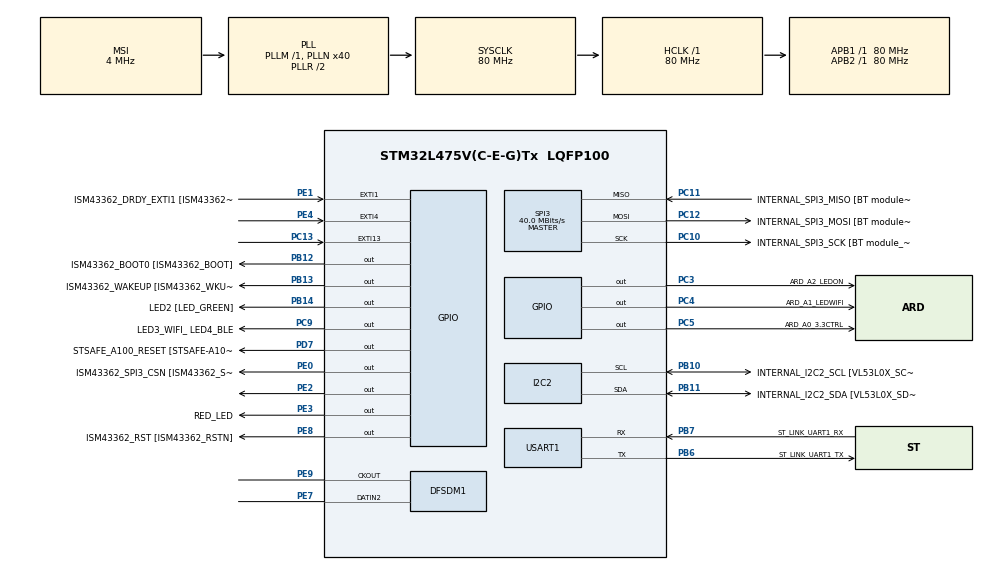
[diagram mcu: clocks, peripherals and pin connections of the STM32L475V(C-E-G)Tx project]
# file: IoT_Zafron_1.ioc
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DFSDM1.Divider=4
DFSDM1.DmaMode_reg_FIL0=ENABLE
DFSDM1.FastMode_reg_FIL0=ENABLE
DFSDM1.Filter_injChannel2_FIL0=DFSDM_CHANNEL_2
DFSDM1.Filter_regChannel_FIL0=DFSDM_CHANNEL_2
DFSDM1.Fosr_FIL0=64
DFSDM1.Oversampling_CH2=10
DFSDM1.RightBitShift_CH2=0x02
DFSDM1.ScanMode_inj_FIL0=ENABLE
DFSDM1.Selection=DFSDM_CHANNEL_OUTPUT_CLOCK_AUDIO
DFSDM1.SincOrder_FIL0=DFSDM_FILTER_SINC3_ORDER
Dma.DFSDM1_FLT0.0.Direction=DMA_PERIPH_TO_MEMORY
Dma.DFSDM1_FLT0.0.Instance=DMA1_Channel4
Dma.DFSDM1_FLT0.0.MemDataAlignment=DMA_MDATAALIGN_WORD
Dma.DFSDM1_FLT0.0.MemInc=DMA_MINC_ENABLE
Dma.DFSDM1_FLT0.0.Mode=DMA_CIRCULAR
Dma.DFSDM1_FLT0.0.PeriphDataAlignment=DMA_PDATAALIGN_WORD
Dma.DFSDM1_FLT0.0.PeriphInc=DMA_PINC_DISABLE
Dma.DFSDM1_FLT0.0.Priority=DMA_PRIORITY_LOW
Dma.Request0=DFSDM1_FLT0
FREERTOS.Tasks01=Cayenne,24,512,StartCayenne,Default,NULL,Dynamic,NULL,NULL;Representacion,24,512,StartRepresentacion,Default,NULL,Dynamic,NULL,NULL;Microfono,24,512,StartMicrofono,Default,NULL,Dynamic,NULL,NULL
FREERTOS.configMINIMAL_STACK_SIZE=512
FREERTOS.configTOTAL_HEAP_SIZE=8192
FREERTOS.configUSE_NEWLIB_REENTRANT=1
I2C2.Timing=0x10909CEC
Mcu.Family=STM32L4
Mcu.Name=STM32L475V(C-E-G)Tx
Mcu.Package=LQFP100
NVIC.DMA1_Channel4_IRQn=true\:5\:0\:false\:false\:true\:true\:false\:true\:true
NVIC.EXTI15_10_IRQn=true\:5\:0\:false\:false\:true\:true\:true\:true\:true
NVIC.EXTI1_IRQn=true\:5\:0\:false\:false\:true\:true\:true\:true\:true
NVIC.EXTI4_IRQn=true\:5\:0\:false\:false\:true\:true\:true\:true\:true
NVIC.PriorityGroup=NVIC_PRIORITYGROUP_4
NVIC.RTC_WKUP_IRQn=true\:5\:0\:true\:false\:true\:true\:true\:true\:true
NVIC.SPI3_IRQn=true\:5\:0\:true\:false\:true\:true\:true\:true\:true
PA13\ (JTMS-SWDIO).GPIO_Label=SYS_JTMS_SWDIO
PA13\ (JTMS-SWDIO).Mode=Serial_Wire
PA13\ (JTMS-SWDIO).Signal=SYS_JTMS-SWDIO
PA14\ (JTCK-SWCLK).GPIO_Label=SYS_JTCK_SWCLK
PA14\ (JTCK-SWCLK).Mode=Serial_Wire
PA14\ (JTCK-SWCLK).Signal=SYS_JTCK-SWCLK
PB10.GPIO_Label=INTERNAL_I2C2_SCL [VL53L0X_SCL]
PB10.GPIO_Pu=GPIO_PULLUP
PB10.Mode=I2C
PB10.Signal=I2C2_SCL
PB11.GPIO_Label=INTERNAL_I2C2_SDA [VL53L0X_SDA]
PB11.GPIO_Pu=GPIO_PULLUP
PB11.Mode=I2C
PB11.Signal=I2C2_SDA
PB12.GPIO_Label=ISM43362_BOOT0 [ISM43362_BOOT]
PB12.Signal=GPIO_Output
PB13.GPIO_Label=ISM43362_WAKEUP [ISM43362_WKUP]
PB13.Signal=GPIO_Output
PB14.GPIO_Label=LED2 [LED_GREEN]
PB14.Signal=GPIO_Output
PB3\ (JTDO-TRACESWO).GPIO_Label=SYS_JTD0_SWO
PB3\ (JTDO-TRACESWO).Signal=SYS_JTDO-SWO
PB6.GPIO_Label=ST_LINK_UART1_TX
PB6.Mode=Asynchronous
PB6.Signal=USART1_TX
PB7.GPIO_Label=ST_LINK_UART1_RX
PB7.Mode=Asynchronous
PB7.Signal=USART1_RX
PC10.GPIO_Label=INTERNAL_SPI3_SCK [BT module_SPI_SCLK] [ISM43362_SCK]
PC10.Mode=Full_Duplex_Master
PC10.Signal=SPI3_SCK
PC11.GPIO_Label=INTERNAL_SPI3_MISO [BT module_SPI_MISO] [ISM43362_MISO]
PC11.Mode=Full_Duplex_Master
PC11.Signal=SPI3_MISO
PC12.GPIO_Label=INTERNAL_SPI3_MOSI [BT module_SPI_MOSI] [ISM43362_MOSI]
PC12.Mode=Full_Duplex_Master
PC12.Signal=SPI3_MOSI
PC13.GPIO_PuPd=GPIO_PULLUP
PC13.Signal=GPXTI13
PC14-OSC32_IN\ (PC14).Mode=LSE-External-Oscillator
PC14-OSC32_IN\ (PC14).Signal=RCC_OSC32_IN
PC15-OSC32_OUT\ (PC15).Mode=LSE-External-Oscillator
PC15-OSC32_OUT\ (PC15).Signal=RCC_OSC32_OUT
PC3.GPIO_Label=ARD_A2_LEDON
PC3.GPIO_PuPd=GPIO_NOPULL
PC3.Signal=GPIO_Output
PC4.GPIO_Label=ARD_A1_LEDWIFI
PC4.GPIO_PuPd=GPIO_NOPULL
PC4.Signal=GPIO_Output
PC5.GPIO_Label=ARD_A0_3.3CTRL
PC5.GPIO_ModeDefaultOutputPP=GPIO_MODE_OUTPUT_PP
PC5.GPIO_PuPd=GPIO_PULLUP
PC5.PinState=GPIO_PIN_SET
PC5.Signal=GPIO_Output
PC9.GPIO_Label=LED3_WIFI_ LED4_BLE
PC9.Signal=GPIO_Output
PD7.GPIO_Label=STSAFE_A100_RESET [STSAFE-A100_RESET]
PD7.Signal=GPIO_Output
PE0.GPIO_Label=ISM43362_SPI3_CSN [ISM43362_SSN]
PE0.PinState=GPIO_PIN_SET
PE0.Signal=GPIO_Output
PE1.GPIO_Label=ISM43362_DRDY_EXTI1 [ISM43362_DATARDY]
PE1.Signal=GPXTI1
PE2.Signal=GPIO_Output
PE3.GPIO_Label=RED_LED
PE3.Signal=GPIO_Output
PE4.Signal=GPXTI4
PE7.Signal=S_DATAIN2DFSDM1
PE8.GPIO_Label=ISM43362_RST [ISM43362_RSTN]
PE8.Signal=GPIO_Output
PE9.Signal=S_CKOUTDFSDM1
ProjectManager.HeapSize=0x200
ProjectManager.StackSize=0x400
ProjectManager.TargetToolchain=STM32CubeIDE
RCC.ADCFreq_Value=48000000
RCC.AHBFreq_Value=80000000
RCC.APB1Freq_Value=80000000
RCC.APB1TimFreq_Value=80000000
RCC.APB2Freq_Value=80000000
RCC.APB2TimFreq_Value=80000000
RCC.CortexFreq_Value=80000000
RCC.HCLKFreq_Value=80000000
RCC.HSE_VALUE=8000000
RCC.HSI_VALUE=16000000
RCC.LPTIM1CLockSelection=RCC_LPTIM1CLKSOURCE_LSE
RCC.LPTIM2CLockSelection=RCC_LPTIM2CLKSOURCE_LSE
RCC.MSI_VALUE=4000000
RCC.PLLN=40
RCC.PLLSAI1N=24
RCC.RTCClockSelection=RCC_RTCCLKSOURCE_LSE
RCC.SYSCLKFreq_VALUE=80000000
RCC.SYSCLKSource=RCC_SYSCLKSOURCE_PLLCLK
RCC.USBFreq_Value=48000000
RCC.VCOOutputFreq_Value=160000000
RTC.Format=RTC_FORMAT_BIN
SH.S_CKOUTDFSDM1.0=DFSDM1_CKOUT,PDM_SPI_input_from_ch2_and_internal_clock
SH.S_CKOUTDFSDM1.1=DFSDM1_CKOUT,CKOUT
SH.S_DATAIN2DFSDM1.0=DFSDM1_DATIN2,PDM_SPI_input_from_ch2_and_internal_clock
SPI3.CalculateBaudRate=40.0 MBits/s
SPI3.Direction=SPI_DIRECTION_2LINES
SPI3.Mode=SPI_MODE_MASTER
SPI3.VirtualType=VM_MASTER
USART1.VirtualMode-Asynchronous=VM_ASYNC
VP_CRC_VS_CRC.Mode=CRC_Activate
VP_FREERTOS_VS_CMSIS_V2.Mode=CMSIS_V2
VP_RNG_VS_RNG.Mode=RNG_Activate
VP_RTC_VS_RTC_Activate.Mode=RTC_Enabled
VP_RTC_VS_RTC_Calendar.Mode=RTC_Calendar
VP_RTC_VS_RTC_WakeUp_intern.Mode=WakeUp
VREF+.Mode=InternalMode
VREF+.Signal=VREFBUF_OUT
board=B-L475E-IOT01A1

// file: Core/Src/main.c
/* USER CODE BEGIN Header */
/* USER CODE END Header */
#include "main.h"
#include "cmsis_os.h"

/* USER CODE BEGIN Includes */
#include "CayenneMQTTClient.h"
#include"GenericMQTT.h"

/* USER CODE END Includes */

/* USER CODE BEGIN PD */
#define SaturaLH(N, L, H) (((N)<(L))?(L):(((N)>(H))?(H):(N)))
#define M24SR_ADDR 0xAC // Dirección I2C del dispositivo M24SR
#define BUFFER_SIZE 10

#define SENIAL1 0x10
#define SENIAL2 0x20
/* USER CODE END PD */

CRC_HandleTypeDef hcrc;

DFSDM_Filter_HandleTypeDef hdfsdm1_filter0;
DFSDM_Channel_HandleTypeDef hdfsdm1_channel2;
DMA_HandleTypeDef hdma_dfsdm1_flt0;

I2C_HandleTypeDef hi2c2;

RNG_HandleTypeDef hrng;

RTC_HandleTypeDef hrtc;

SPI_HandleTypeDef hspi3;

UART_HandleTypeDef huart1;

/* Definitions for Zafron */
osThreadId_t ZafronHandle;
const osThreadAttr_t Zafron_attributes = {
  .name = "Zafron",
  .stack_size = 512 * 4,
  .priority = (osPriority_t) osPriorityNormal,
};
/* Definitions for Representacion */
osThreadId_t RepresentacionHandle;
const osThreadAttr_t Representacion_attributes = {
  .name = "Representacion",
  .stack_size = 512 * 4,
  .priority = (osPriority_t) osPriorityNormal,
};
/* Definitions for Microfono */
osThreadId_t MicrofonoHandle;
const osThreadAttr_t Microfono_attributes = {
  .name = "Microfono",
  .stack_size = 512 * 4,
  .priority = (osPriority_t) osPriorityNormal,
};
/* USER CODE BEGIN PV */
net_hnd_t hnet; /* Es inicializado porcloud_main(). */

net_sockhnd_t socket;
CayenneMQTTClient mqttClient;
Network network;
Timer timer;

char *username = "a8f3a0ec-6d65-4a45-bfb6-4ea3a2f5b438";
char *password = "00000000764D8D03";
char *clientID = "D61ED7EE";

bool FLAG1 = false;
bool encendido = true;
bool estadoLED = false;

AUDIO_DrvTypeDef *audio_drv;
int32_t RecBuff[2048];
int16_t PlayBuff[4096];
uint32_t DmaRecHalfBuffCplt = 0;
uint32_t DmaRecBuffCplt = 0;
uint32_t PlaybackStarted = 0;

uint16_t numeroDetecciones;
uint16_t numeroPulsaciones;
//uint16_t volumenMicro;

/* USER CODE END PV */

void SystemClock_Config(void);
void PeriphCommonClock_Config(void);
static void MX_GPIO_Init(void);
static void MX_DMA_Init(void);
static void MX_USART1_UART_Init(void);
static void MX_I2C2_Init(void);
static void MX_RNG_Init(void);
static void MX_RTC_Init(void);
static void MX_SPI3_Init(void);
static void MX_CRC_Init(void);
static void MX_DFSDM1_Init(void);
void StartZafron(void *argument);
void StartRepresentacion(void *argument);
void StartMicrofono(void *argument);

/* USER CODE BEGIN PFP */
void SPI_WIFI_ISR(void);
bool inicializa_ConexionIoT(void);
bool inicia_ClienteMQTT(void);

void messageArrived(CayenneMessageData *message);
void outputMessage(CayenneMessageData *message);
/* USER CODE END PFP */

int main(void)
{

	/* MCU Configuration--------------------------------------------------------*/

	/* Reset of all peripherals, Initializes the Flash interface and the Systick. */
	HAL_Init();

	/* Configure the system clock */
	SystemClock_Config();

	/* Configure the peripherals common clocks */
	PeriphCommonClock_Config();

	/* USER CODE BEGIN SysInit */
	BSP_LED_Init(LED_GREEN);	//Led de usuario en la placa
	BSP_PB_Init(BUTTON_USER, BUTTON_MODE_EXTI);	//PushButton de la placa
	/* USER CODE END SysInit */

	/* Initialize all configured peripherals */
	MX_GPIO_Init();
	MX_DMA_Init();
	MX_USART1_UART_Init();
	MX_I2C2_Init();
	MX_RNG_Init();
	MX_RTC_Init();
	MX_SPI3_Init();
	MX_CRC_Init();
	MX_DFSDM1_Init();

	/* USER CODE BEGIN 2 */
	numeroDetecciones = 0;
	numeroPulsaciones = 0;
	NFC_IO_Init(1);
	inicializarTemperatura();
	inicializarHumedad();
	inicializarBarometro();
	inicializarAcelerometro();
	inicializarGiro();
	inicializarMagneto();
	inicializarToF();
	//inicializarSensores();
	if (HAL_OK
			!= HAL_DFSDM_FilterRegularStart_DMA(&hdfsdm1_filter0, RecBuff,
					2048)) { //Inicializar micro
		Error_Handler();
	}

	inicializa_ConexionIoT();
	inicia_ClienteMQTT();

	printf("\x1b[2J" "\x1b[f"); //limpiar buffer y ventana de TeraTerm

	/* USER CODE END 2 */

	/* Init scheduler */
	osKernelInitialize();

	/* Create the thread(s) */
	/* creation of Zafron */
	ZafronHandle = osThreadNew(StartZafron, NULL, &Zafron_attributes);

	/* creation of Representacion */
	RepresentacionHandle = osThreadNew(StartRepresentacion, NULL,
			&Representacion_attributes);

	/* creation of Microfono */
	MicrofonoHandle = osThreadNew(StartMicrofono, NULL, &Microfono_attributes);

	/* USER CODE BEGIN RTOS_THREADS */
	//publicador = osThreadNew(publicaDatos, NULL, &defaultTask_attributes_1);
	/* add threads, ... */
	/* USER CODE END RTOS_THREADS */

	/* Start scheduler */
	osKernelStart();
	/* We should never get here as control is now taken by the scheduler */
	/* Infinite loop */
	while (1) {

	}
}

void SystemClock_Config(void)
{
  RCC_OscInitTypeDef RCC_OscInitStruct = {0};
  RCC_ClkInitTypeDef RCC_ClkInitStruct = {0};

  /** Configure the main internal regulator output voltage
  */
  if (HAL_PWREx_ControlVoltageScaling(PWR_REGULATOR_VOLTAGE_SCALE1) != HAL_OK)
  {
    Error_Handler();
  }

  /** Configure LSE Drive Capability
  */
  HAL_PWR_EnableBkUpAccess();
  __HAL_RCC_LSEDRIVE_CONFIG(RCC_LSEDRIVE_LOW);

  /** Initializes the RCC Oscillators according to the specified parameters
  * in the RCC_OscInitTypeDef structure.
  */
  RCC_OscInitStruct.OscillatorType = RCC_OSCILLATORTYPE_LSE|RCC_OSCILLATORTYPE_MSI;
  RCC_OscInitStruct.LSEState = RCC_LSE_ON;
  RCC_OscInitStruct.MSIState = RCC_MSI_ON;
  RCC_OscInitStruct.MSICalibrationValue = 0;
  RCC_OscInitStruct.MSIClockRange = RCC_MSIRANGE_6;
  RCC_OscInitStruct.PLL.PLLState = RCC_PLL_ON;
  RCC_OscInitStruct.PLL.PLLSource = RCC_PLLSOURCE_MSI;
  RCC_OscInitStruct.PLL.PLLM = 1;
  RCC_OscInitStruct.PLL.PLLN = 40;
  RCC_OscInitStruct.PLL.PLLP = RCC_PLLP_DIV7;
  RCC_OscInitStruct.PLL.PLLQ = RCC_PLLQ_DIV2;
  RCC_OscInitStruct.PLL.PLLR = RCC_PLLR_DIV2;
  if (HAL_RCC_OscConfig(&RCC_OscInitStruct) != HAL_OK)
  {
    Error_Handler();
  }

  /** Initializes the CPU, AHB and APB buses clocks
  */
  RCC_ClkInitStruct.ClockType = RCC_CLOCKTYPE_HCLK|RCC_CLOCKTYPE_SYSCLK
                              |RCC_CLOCKTYPE_PCLK1|RCC_CLOCKTYPE_PCLK2;
  RCC_ClkInitStruct.SYSCLKSource = RCC_SYSCLKSOURCE_PLLCLK;
  RCC_ClkInitStruct.AHBCLKDivider = RCC_SYSCLK_DIV1;
  RCC_ClkInitStruct.APB1CLKDivider = RCC_HCLK_DIV1;
  RCC_ClkInitStruct.APB2CLKDivider = RCC_HCLK_DIV1;

  if (HAL_RCC_ClockConfig(&RCC_ClkInitStruct, FLASH_LATENCY_4) != HAL_OK)
  {
    Error_Handler();
  }

  /** Enable MSI Auto calibration
  */
  HAL_RCCEx_EnableMSIPLLMode();
}

void PeriphCommonClock_Config(void)
{
  RCC_PeriphCLKInitTypeDef PeriphClkInit = {0};

  /** Initializes the peripherals clock
  */
  PeriphClkInit.PeriphClockSelection = RCC_PERIPHCLK_SAI1|RCC_PERIPHCLK_RNG;
  PeriphClkInit.Sai1ClockSelection = RCC_SAI1CLKSOURCE_PLLSAI1;
  PeriphClkInit.RngClockSelection = RCC_RNGCLKSOURCE_PLLSAI1;
  PeriphClkInit.PLLSAI1.PLLSAI1Source = RCC_PLLSOURCE_MSI;
  PeriphClkInit.PLLSAI1.PLLSAI1M = 1;
  PeriphClkInit.PLLSAI1.PLLSAI1N = 24;
  PeriphClkInit.PLLSAI1.PLLSAI1P = RCC_PLLP_DIV7;
  PeriphClkInit.PLLSAI1.PLLSAI1Q = RCC_PLLQ_DIV2;
  PeriphClkInit.PLLSAI1.PLLSAI1R = RCC_PLLR_DIV2;
  PeriphClkInit.PLLSAI1.PLLSAI1ClockOut = RCC_PLLSAI1_SAI1CLK|RCC_PLLSAI1_48M2CLK;
  if (HAL_RCCEx_PeriphCLKConfig(&PeriphClkInit) != HAL_OK)
  {
    Error_Handler();
  }
}

static void MX_CRC_Init(void)
{

  hcrc.Instance = CRC;
  hcrc.Init.DefaultPolynomialUse = DEFAULT_POLYNOMIAL_ENABLE;
  hcrc.Init.DefaultInitValueUse = DEFAULT_INIT_VALUE_ENABLE;
  hcrc.Init.InputDataInversionMode = CRC_INPUTDATA_INVERSION_NONE;
  hcrc.Init.OutputDataInversionMode = CRC_OUTPUTDATA_INVERSION_DISABLE;
  hcrc.InputDataFormat = CRC_INPUTDATA_FORMAT_BYTES;
  if (HAL_CRC_Init(&hcrc) != HAL_OK)
  {
    Error_Handler();
  }

}

static void MX_DFSDM1_Init(void)
{

  hdfsdm1_filter0.Instance = DFSDM1_Filter0;
  hdfsdm1_filter0.Init.RegularParam.Trigger = DFSDM_FILTER_SW_TRIGGER;
  hdfsdm1_filter0.Init.RegularParam.FastMode = ENABLE;
  hdfsdm1_filter0.Init.RegularParam.DmaMode = ENABLE;
  hdfsdm1_filter0.Init.InjectedParam.Trigger = DFSDM_FILTER_SW_TRIGGER;
  hdfsdm1_filter0.Init.InjectedParam.ScanMode = ENABLE;
  hdfsdm1_filter0.Init.InjectedParam.DmaMode = DISABLE;
  hdfsdm1_filter0.Init.InjectedParam.ExtTrigger = DFSDM_FILTER_EXT_TRIG_TIM1_TRGO;
  hdfsdm1_filter0.Init.InjectedParam.ExtTriggerEdge = DFSDM_FILTER_EXT_TRIG_RISING_EDGE;
  hdfsdm1_filter0.Init.FilterParam.SincOrder = DFSDM_FILTER_SINC3_ORDER;
  hdfsdm1_filter0.Init.FilterParam.Oversampling = 64;
  hdfsdm1_filter0.Init.FilterParam.IntOversampling = 1;
  if (HAL_DFSDM_FilterInit(&hdfsdm1_filter0) != HAL_OK)
  {
    Error_Handler();
  }
  hdfsdm1_channel2.Instance = DFSDM1_Channel2;
  hdfsdm1_channel2.Init.OutputClock.Activation = ENABLE;
  hdfsdm1_channel2.Init.OutputClock.Selection = DFSDM_CHANNEL_OUTPUT_CLOCK_AUDIO;
  hdfsdm1_channel2.Init.OutputClock.Divider = 4;
  hdfsdm1_channel2.Init.Input.Multiplexer = DFSDM_CHANNEL_EXTERNAL_INPUTS;
  hdfsdm1_channel2.Init.Input.DataPacking = DFSDM_CHANNEL_STANDARD_MODE;
  hdfsdm1_channel2.Init.Input.Pins = DFSDM_CHANNEL_SAME_CHANNEL_PINS;
  hdfsdm1_channel2.Init.SerialInterface.Type = DFSDM_CHANNEL_SPI_RISING;
  hdfsdm1_channel2.Init.SerialInterface.SpiClock = DFSDM_CHANNEL_SPI_CLOCK_INTERNAL;
  hdfsdm1_channel2.Init.Awd.FilterOrder = DFSDM_CHANNEL_FASTSINC_ORDER;
  hdfsdm1_channel2.Init.Awd.Oversampling = 10;
  hdfsdm1_channel2.Init.Offset = 0;
  hdfsdm1_channel2.Init.RightBitShift = 0x02;
  if (HAL_DFSDM_ChannelInit(&hdfsdm1_channel2) != HAL_OK)
  {
    Error_Handler();
  }
  if (HAL_DFSDM_FilterConfigRegChannel(&hdfsdm1_filter0, DFSDM_CHANNEL_2, DFSDM_CONTINUOUS_CONV_ON) != HAL_OK)
  {
    Error_Handler();
  }
  if (HAL_DFSDM_FilterConfigInjChannel(&hdfsdm1_filter0, DFSDM_CHANNEL_2) != HAL_OK)
  {
    Error_Handler();
  }

}

static void MX_I2C2_Init(void)
{

  hi2c2.Instance = I2C2;
  hi2c2.Init.Timing = 0x10909CEC;
  hi2c2.Init.OwnAddress1 = 0;
  hi2c2.Init.AddressingMode = I2C_ADDRESSINGMODE_7BIT;
  hi2c2.Init.DualAddressMode = I2C_DUALADDRESS_DISABLE;
  hi2c2.Init.OwnAddress2 = 0;
  hi2c2.Init.OwnAddress2Masks = I2C_OA2_NOMASK;
  hi2c2.Init.GeneralCallMode = I2C_GENERALCALL_DISABLE;
  hi2c2.Init.NoStretchMode = I2C_NOSTRETCH_DISABLE;
  if (HAL_I2C_Init(&hi2c2) != HAL_OK)
  {
    Error_Handler();
  }

  /** Configure Analogue filter
  */
  if (HAL_I2CEx_ConfigAnalogFilter(&hi2c2, I2C_ANALOGFILTER_ENABLE) != HAL_OK)
  {
    Error_Handler();
  }

  /** Configure Digital filter
  */
  if (HAL_I2CEx_ConfigDigitalFilter(&hi2c2, 0) != HAL_OK)
  {
    Error_Handler();
  }

}

static void MX_RNG_Init(void)
{

  hrng.Instance = RNG;
  if (HAL_RNG_Init(&hrng) != HAL_OK)
  {
    Error_Handler();
  }

}

static void MX_RTC_Init(void)
{

  RTC_TimeTypeDef sTime = {0};
  RTC_DateTypeDef sDate = {0};

  /** Initialize RTC Only
  */
  hrtc.Instance = RTC;
  hrtc.Init.HourFormat = RTC_HOURFORMAT_24;
  hrtc.Init.AsynchPrediv = 127;
  hrtc.Init.SynchPrediv = 255;
  hrtc.Init.OutPut = RTC_OUTPUT_DISABLE;
  hrtc.Init.OutPutRemap = RTC_OUTPUT_REMAP_NONE;
  hrtc.Init.OutPutPolarity = RTC_OUTPUT_POLARITY_HIGH;
  hrtc.Init.OutPutType = RTC_OUTPUT_TYPE_OPENDRAIN;
  if (HAL_RTC_Init(&hrtc) != HAL_OK)
  {
    Error_Handler();
  }

  /** Initialize RTC and set the Time and Date
  */
  sTime.Hours = 0;
  sTime.Minutes = 0;
  sTime.Seconds = 0;
  sTime.DayLightSaving = RTC_DAYLIGHTSAVING_NONE;
  sTime.StoreOperation = RTC_STOREOPERATION_RESET;
  if (HAL_RTC_SetTime(&hrtc, &sTime, RTC_FORMAT_BIN) != HAL_OK)
  {
    Error_Handler();
  }
  sDate.WeekDay = RTC_WEEKDAY_MONDAY;
  sDate.Month = RTC_MONTH_JANUARY;
  sDate.Date = 1;
  sDate.Year = 0;

  if (HAL_RTC_SetDate(&hrtc, &sDate, RTC_FORMAT_BIN) != HAL_OK)
  {
    Error_Handler();
  }

  /** Enable the WakeUp
  */
  if (HAL_RTCEx_SetWakeUpTimer_IT(&hrtc, 0, RTC_WAKEUPCLOCK_RTCCLK_DIV16) != HAL_OK)
  {
    Error_Handler();
  }
  /* USER CODE BEGIN RTC_Init 2 */
	HAL_RTCEx_WakeUpTimerIRQHandler(&hrtc);
  /* USER CODE END RTC_Init 2 */

}

static void MX_SPI3_Init(void)
{

  /* SPI3 parameter configuration*/
  hspi3.Instance = SPI3;
  hspi3.Init.Mode = SPI_MODE_MASTER;
  hspi3.Init.Direction = SPI_DIRECTION_2LINES;
  hspi3.Init.DataSize = SPI_DATASIZE_4BIT;
  hspi3.Init.CLKPolarity = SPI_POLARITY_LOW;
  hspi3.Init.CLKPhase = SPI_PHASE_1EDGE;
  hspi3.Init.NSS = SPI_NSS_SOFT;
  hspi3.Init.BaudRatePrescaler = SPI_BAUDRATEPRESCALER_2;
  hspi3.Init.FirstBit = SPI_FIRSTBIT_MSB;
  hspi3.Init.TIMode = SPI_TIMODE_DISABLE;
  hspi3.Init.CRCCalculation = SPI_CRCCALCULATION_DISABLE;
  hspi3.Init.CRCPolynomial = 7;
  hspi3.Init.CRCLength = SPI_CRC_LENGTH_DATASIZE;
  hspi3.Init.NSSPMode = SPI_NSS_PULSE_ENABLE;
  if (HAL_SPI_Init(&hspi3) != HAL_OK)
  {
    Error_Handler();
  }

}

static void MX_USART1_UART_Init(void)
{

  huart1.Instance = USART1;
  huart1.Init.BaudRate = 115200;
  huart1.Init.WordLength = UART_WORDLENGTH_8B;
  huart1.Init.StopBits = UART_STOPBITS_1;
  huart1.Init.Parity = UART_PARITY_NONE;
  huart1.Init.Mode = UART_MODE_TX_RX;
  huart1.Init.HwFlowCtl = UART_HWCONTROL_NONE;
  huart1.Init.OverSampling = UART_OVERSAMPLING_16;
  huart1.Init.OneBitSampling = UART_ONE_BIT_SAMPLE_DISABLE;
  huart1.AdvancedInit.AdvFeatureInit = UART_ADVFEATURE_NO_INIT;
  if (HAL_UART_Init(&huart1) != HAL_OK)
  {
    Error_Handler();
  }
  /* USER CODE BEGIN USART1_Init 2 */
	BSP_COM_Init(COM1, &huart1); //Transmisión de los datos por el puerto USART1 al COM del ordenador por USB
  /* USER CODE END USART1_Init 2 */

}

static void MX_DMA_Init(void)
{

  /* DMA controller clock enable */
  __HAL_RCC_DMA1_CLK_ENABLE();

  /* DMA interrupt init */
  /* DMA1_Channel4_IRQn interrupt configuration */
  HAL_NVIC_SetPriority(DMA1_Channel4_IRQn, 5, 0);
  HAL_NVIC_EnableIRQ(DMA1_Channel4_IRQn);

}

static void MX_GPIO_Init(void)
{
  GPIO_InitTypeDef GPIO_InitStruct = {0};

  /* GPIO Ports Clock Enable */
  __HAL_RCC_GPIOE_CLK_ENABLE();
  __HAL_RCC_GPIOC_CLK_ENABLE();
  __HAL_RCC_GPIOB_CLK_ENABLE();
  __HAL_RCC_GPIOA_CLK_ENABLE();
  __HAL_RCC_GPIOD_CLK_ENABLE();

  /*Configure GPIO pin Output Level */
  HAL_GPIO_WritePin(GPIOE, GPIO_PIN_2|RED_LED_Pin|ISM43362_RST_Pin, GPIO_PIN_RESET);

  /*Configure GPIO pin Output Level */
  HAL_GPIO_WritePin(GPIOC, ARD_A2_LEDON_Pin|ARD_A1_LEDWIFI_Pin|LED3_WIFI__LED4_BLE_Pin, GPIO_PIN_RESET);

  /*Configure GPIO pin Output Level */
  HAL_GPIO_WritePin(ARD_A0_3_3CTRL_GPIO_Port, ARD_A0_3_3CTRL_Pin, GPIO_PIN_SET);

  /*Configure GPIO pin Output Level */
  HAL_GPIO_WritePin(GPIOB, ISM43362_BOOT0_Pin|ISM43362_WAKEUP_Pin|LED2_Pin, GPIO_PIN_RESET);

  /*Configure GPIO pin Output Level */
  HAL_GPIO_WritePin(STSAFE_A100_RESET_GPIO_Port, STSAFE_A100_RESET_Pin, GPIO_PIN_RESET);

  /*Configure GPIO pin Output Level */
  HAL_GPIO_WritePin(ISM43362_SPI3_CSN_GPIO_Port, ISM43362_SPI3_CSN_Pin, GPIO_PIN_SET);

  /*Configure GPIO pins : PE2 RED_LED_Pin ISM43362_RST_Pin ISM43362_SPI3_CSN_Pin */
  GPIO_InitStruct.Pin = GPIO_PIN_2|RED_LED_Pin|ISM43362_RST_Pin|ISM43362_SPI3_CSN_Pin;
  GPIO_InitStruct.Mode = GPIO_MODE_OUTPUT_PP;
  GPIO_InitStruct.Pull = GPIO_NOPULL;
  GPIO_InitStruct.Speed = GPIO_SPEED_FREQ_LOW;
  HAL_GPIO_Init(GPIOE, &GPIO_InitStruct);

  /*Configure GPIO pins : PE4 ISM43362_DRDY_EXTI1_Pin */
  GPIO_InitStruct.Pin = GPIO_PIN_4|ISM43362_DRDY_EXTI1_Pin;
  GPIO_InitStruct.Mode = GPIO_MODE_IT_RISING;
  GPIO_InitStruct.Pull = GPIO_NOPULL;
  HAL_GPIO_Init(GPIOE, &GPIO_InitStruct);

  /*Configure GPIO pin : PC13 */
  GPIO_InitStruct.Pin = GPIO_PIN_13;
  GPIO_InitStruct.Mode = GPIO_MODE_IT_RISING;
  GPIO_InitStruct.Pull = GPIO_PULLUP;
  HAL_GPIO_Init(GPIOC, &GPIO_InitStruct);

  /*Configure GPIO pins : ARD_A2_LEDON_Pin ARD_A1_LEDWIFI_Pin LED3_WIFI__LED4_BLE_Pin */
  GPIO_InitStruct.Pin = ARD_A2_LEDON_Pin|ARD_A1_LEDWIFI_Pin|LED3_WIFI__LED4_BLE_Pin;
  GPIO_InitStruct.Mode = GPIO_MODE_OUTPUT_PP;
  GPIO_InitStruct.Pull = GPIO_NOPULL;
  GPIO_InitStruct.Speed = GPIO_SPEED_FREQ_LOW;
  HAL_GPIO_Init(GPIOC, &GPIO_InitStruct);

  /*Configure GPIO pin : ARD_A0_3_3CTRL_Pin */
  GPIO_InitStruct.Pin = ARD_A0_3_3CTRL_Pin;
  GPIO_InitStruct.Mode = GPIO_MODE_OUTPUT_PP;
  GPIO_InitStruct.Pull = GPIO_PULLUP;
  GPIO_InitStruct.Speed = GPIO_SPEED_FREQ_LOW;
  HAL_GPIO_Init(ARD_A0_3_3CTRL_GPIO_Port, &GPIO_InitStruct);

  /*Configure GPIO pins : ISM43362_BOOT0_Pin ISM43362_WAKEUP_Pin LED2_Pin */
  GPIO_InitStruct.Pin = ISM43362_BOOT0_Pin|ISM43362_WAKEUP_Pin|LED2_Pin;
  GPIO_InitStruct.Mode = GPIO_MODE_OUTPUT_PP;
  GPIO_InitStruct.Pull = GPIO_NOPULL;
  GPIO_InitStruct.Speed = GPIO_SPEED_FREQ_LOW;
  HAL_GPIO_Init(GPIOB, &GPIO_InitStruct);

  /*Configure GPIO pin : STSAFE_A100_RESET_Pin */
  GPIO_InitStruct.Pin = STSAFE_A100_RESET_Pin;
  GPIO_InitStruct.Mode = GPIO_MODE_OUTPUT_PP;
  GPIO_InitStruct.Pull = GPIO_NOPULL;
  GPIO_InitStruct.Speed = GPIO_SPEED_FREQ_LOW;
  HAL_GPIO_Init(STSAFE_A100_RESET_GPIO_Port, &GPIO_InitStruct);

  /* EXTI interrupt init*/
  HAL_NVIC_SetPriority(EXTI1_IRQn, 5, 0);
  HAL_NVIC_EnableIRQ(EXTI1_IRQn);

  HAL_NVIC_SetPriority(EXTI4_IRQn, 5, 0);
  HAL_NVIC_EnableIRQ(EXTI4_IRQn);

  HAL_NVIC_SetPriority(EXTI15_10_IRQn, 5, 0);
  HAL_NVIC_EnableIRQ(EXTI15_10_IRQn);

}

/* USER CODE BEGIN 4 */

/**********************Funciones para habilitar el envío de mensajes por el USART1 al COM del ordenador*********
 * **********************************************************************************************************
 */
#if (defined(__GNUC__) && !defined(__CC_ARM))
#define PUTCHAR_PROTOTYPE int __io_putchar(int ch)
#define GETCHAR_PROTOTYPE int __io_getchar(void)
#else
#define PUTCHAR_PROTOTYPE int fputc(int ch, FILE *f)
#define GETCHAR_PROTOTYPE int fgetc(FILE *f)
#endif /* __GNUC__ */

/**
 * @brief  Retargets the C library printf function to the USART.
 * @param  None
 * @retval None
 */
PUTCHAR_PROTOTYPE {
	/* Place your implementation of fputc here */
	/* e.g. write a character to the USART2 and Loop until the end of transmission */
	while (HAL_OK != HAL_UART_Transmit(&huart1, (uint8_t*) &ch, 1, 30000)) {
		;
	}
	return ch;
}

/**
 * @brief  Retargets the C library scanf function to the USART.
 * @param  None
 * @retval None
 */
GETCHAR_PROTOTYPE {
	/* Place your implementation of fgetc here */
	/* e.g. read a character on USART and loop until the end of read */
	uint8_t ch = 0;
	while (HAL_OK != HAL_UART_Receive(&huart1, (uint8_t*) &ch, 1, 30000)) {
		;
	}
	return ch;
}

void HAL_GPIO_EXTI_Callback(uint16_t GPIO_Pin) {
	switch (GPIO_Pin) {
	/*case (GPIO_PIN_13): {
	 Button_ISR();
	 break;
	 }*/

	case (GPIO_PIN_1): {
		SPI_WIFI_ISR();
		break;
	}

	default: {
		break;
	}
	}
}

bool inicializa_ConexionIoT(void) {
	int ret = 0;
	const char *connectionString = NULL;
	ret = platform_init();
	if (ret != 0) {
		msg_error(
				"\nFallo al inicializar la plataforma de conexión a Internet.\n");
		HAL_GPIO_WritePin(GPIOC, RD_A1_LEDWIFI_Pin, GPIO_PIN_RESET); //LED de conexión Wi-Fi}

	} else {
		ret = (getIoTDeviceConfig(&connectionString) != 0);
		ret |= (parse_and_fill_device_config(&device_config, connectionString)
				!= 0);
		connection_security = (conn_sec_t) atoi(device_config->ConnSecurity);
		HAL_GPIO_WritePin(GPIOC, RD_A1_LEDWIFI_Pin, GPIO_PIN_SET); //LED de conexión Wi-Fi}
	}

	if (ret != 0) {
		msg_error(
				"\nNo se pudo recuperar la cadena de conexion de la configuracion del usuario desde el almacenamiento.\n");
	} else {
		net_macaddr_t mac = { 0 };
		if (net_get_mac_address(hnet, &mac) == NET_OK) {
			snprintf(pub_data.mac, MODEL_MAC_SIZE, "%02X%02X%02X%02X%02X%02X",
					mac.mac[0], mac.mac[1], mac.mac[2], mac.mac[3], mac.mac[4],
					mac.mac[5]);
		} else {
			msg_warning("\nNo se pudo recuperar la direccion MAC pare establecer la ID del dispositivo \n");
			snprintf(pub_data.mac, MODEL_MAC_SIZE - 1, "UnknownMAC");
		}
	}
	return (ret == 0);
}

bool inicia_ClienteMQTT() {
	int error = 0;
	int ret = net_sock_create(hnet, &socket,
			(connection_security == CONN_SEC_NONE) ?
					NET_PROTO_TCP : NET_PROTO_TLS);
	net_sock_setopt(socket, "sock_noblocking", NULL, 0);
	net_sock_open(socket, CAYENNE_DOMAIN,
	CAYENNE_PORT, 0);
	if (ret != NET_OK) //Error al abrir el Socket en el servidor IoT que le hemos facilitado
	{
		msg_error(
				"\nNo se pudo abrir un socket en la direccion %s  con puerto %d.\n",
				CAYENNE_DOMAIN, CAYENNE_PORT);
		g_connection_needed_score++;
		return error;
	}

	else {

		network.my_socket = socket;
		network.mqttread = (network_read);
		network.mqttwrite = (network_write);
		CayenneMQTTClientInit(&mqttClient, &network, username, password,
				clientID, messageArrived);
		if ((error = CayenneMQTTConnect(&mqttClient)) != MQTT_SUCCESS) {
			printf("MQTT connect failed, error: %d\n", error);
			return error;
		}
		printf("Connected\n");

		// Subscribe to required topics.
		if ((error = CayenneMQTTSubscribe(&mqttClient, NULL, COMMAND_TOPIC,
		CAYENNE_ALL_CHANNELS, NULL)) != CAYENNE_SUCCESS) {
			printf("Subscription to Command topic failed, error: %d\n", error);
		}
		if ((error = CayenneMQTTSubscribe(&mqttClient, NULL, CONFIG_TOPIC,
		CAYENNE_ALL_CHANNELS, NULL)) != CAYENNE_SUCCESS) {
			printf("Subscription to Config topic failed, error:%d\n", error);
		}
		if ((error = CayenneMQTTSubscribe(&mqttClient, NULL, DATA_TOPIC,
		CAYENNE_ALL_CHANNELS, NULL)) != CAYENNE_SUCCESS) {
			printf("Subscription to Config topic failed, error:%d\n", error);
		}
		// Send device info. Here we just send some example values for the system info. These should be changed to use actual system data, or removed if not needed.
		CayenneMQTTPublishData(&mqttClient, NULL, SYS_VERSION_TOPIC,
		CAYENNE_NO_CHANNEL, NULL, NULL, CAYENNE_VERSION);
		CayenneMQTTPublishData(&mqttClient, NULL, SYS_MODEL_TOPIC,
		CAYENNE_NO_CHANNEL, NULL, NULL, "Windows");

	}
	FLAG1 = true; //Si se ha iniciado correctamente
	return CAYENNE_SUCCESS;
}

void outputMessage(CayenneMessageData *message) {
	size_t i;
	switch (message->topic) {
	case COMMAND_TOPIC:
		printf("topic=Command");
		break;
	case CONFIG_TOPIC:
		printf("topic=Config");
		break;
	default:
		printf("topic=%d", message->topic);
		break;
	}
	printf(" channel=%d", message->channel);
	if (message->clientID) {
		printf(" clientID=%s", message->clientID);
	}
	if (message->type) {
		printf(" type=%s", message->type);
	}
	for (i = 0; i < message->valueCount; ++i) {
		if (message->values[i].value) {
			printf(" value=%s", message->values[i].value);
		}
		if (message->values[i].unit) {
			printf(" unit=%s", message->values[i].unit);
		}
	}
	if (message->id) {
		printf(" id=%s", message->id);
	}
	printf("\n");
}

/**
 * Handle messages received from the Zafron server.
 * @param[in] message The message received from the Zafron server.
 */
// Handle messages received from the Zafron server.
void messageArrived(CayenneMessageData *message) {
	if (message->channel == 15 && (atoi(message->values[0].value) == 0)) {
		printf("Message received on channel %d: 0\n", message->channel);
		encendido = false;

	}
	if (message->channel == 15 && (atoi(message->values[0].value) == 1)) {
		printf("Message received on channel %d: 1\n", message->channel);
		encendido = true;

	}

	if (message->channel == 16 && (atoi(message->values[0].value) == 0)) {
		printf("Message received on channel %d: 0\n", message->channel);
		BSP_LED_Off(LED2);
		estadoLED = false;
	}
	if (message->channel == 16 && (atoi(message->values[0].value) == 1)) {
		printf("Message received on channel %d: 1\n", message->channel);
		BSP_LED_On(LED2);
		estadoLED = true;

	}
	// Add code to process the message here.
	if (message->topic == COMMAND_TOPIC) {
		// If this is a command message we publish a response to show we recieved it. Here we are just sending a default 'OK' response.
		// An error response should be sent if there are issues processing the message.
		CayenneMQTTPublishResponse(&mqttClient, message->clientID, message->id,
		NULL);
		// Send the updated state for the channel so it is reflected in the Zafron dashboard. If a command is successfully processed
		// the updated state will usually just be the value received in the command message.
		CayenneMQTTPublishData(&mqttClient, message->clientID, DATA_TOPIC,
				message->channel, NULL, NULL, message->values[0].value);
	}
}

void HAL_DFSDM_FilterRegConvHalfCpltCallback(
		DFSDM_Filter_HandleTypeDef *hdfsdm_filter) {
	DmaRecHalfBuffCplt = 1;
}

void HAL_DFSDM_FilterRegConvCpltCallback(
		DFSDM_Filter_HandleTypeDef *hdfsdm_filter) {
	DmaRecBuffCplt = 1;
}
/* USER CODE END 4 */

void StartZafron(void *argument)
{
  /* USER CODE BEGIN 5 */
	/* Infinite loop */

	if (FLAG1) {

		while (1) {

			CayenneMQTTYield(&mqttClient, 1000);

			if (net_sock_setopt(socket, "sock_noblocking", NULL, 0) != NET_OK
					|| !CayenneMQTTConnected(&mqttClient)) {
				net_sock_close(socket);
				CayenneMQTTDisconnect(&mqttClient);
				printf("Reconectando\n");
				while (inicia_ClienteMQTT() != CAYENNE_SUCCESS) {
					return;
				}

			}

			getTemperatura(&temperatura);
			getHumedad(&humedad);
			getAxisAccelerometer(&accx, &accy, &accz);
			getAxisGyro(&gyrox, &gyroy, &gyroz);
			getMagnetoAxis(&magx, &magy, &magz);
			getPresion(&pressure);
			inicializarToF();
			getDistancia(&distancia);

			osThreadFlagsSet(RepresentacionHandle, SENIAL1);
			osThreadFlagsSet(MicrofonoHandle, SENIAL2);

			//if (encendido) {

				CayenneMQTTPublishDataFloat(&mqttClient, NULL, DATA_TOPIC, 0,
				TYPE_TEMPERATURE, UNIT_CELSIUS, temperatura);

				CayenneMQTTPublishDataFloat(&mqttClient, NULL, DATA_TOPIC, 1,
				TYPE_RELATIVE_HUMIDITY, UNIT_PERCENT, humedad);

				CayenneMQTTPublishDataFloat(&mqttClient, NULL, DATA_TOPIC, 2,
				TYPE_BAROMETRIC_PRESSURE, UNIT_HECTOPASCAL, pressure);

				CayenneMQTTPublishDataFloat(&mqttClient, NULL, DATA_TOPIC, 3,
				TYPE_ACELERACION_X, UNIT_mGRAVEDADES, accx_g);

				CayenneMQTTPublishDataFloat(&mqttClient, NULL, DATA_TOPIC, 4,
				TYPE_ACELERACION_Y, UNIT_mGRAVEDADES, accy_g);

				CayenneMQTTPublishDataFloat(&mqttClient, NULL, DATA_TOPIC, 5,
				TYPE_ACELERACION_Z, UNIT_mGRAVEDADES, accz_g);

				CayenneMQTTPublishDataFloat(&mqttClient, NULL, DATA_TOPIC, 6,
				TYPE_GIROS_X, UNIT_mGRAVEDADES, gyrox_g);

				CayenneMQTTPublishDataFloat(&mqttClient, NULL, DATA_TOPIC, 7,
				TYPE_GIROS_Y, UNIT_mGRAVEDADES, gyroy_g);

				CayenneMQTTPublishDataFloat(&mqttClient, NULL, DATA_TOPIC, 8,
				TYPE_GIROS_Z, UNIT_mGRAVEDADES, gyroz_g);

				CayenneMQTTPublishDataInt(&mqttClient, NULL, DATA_TOPIC, 9,
				TYPE_MAGNETICO_X, UNIT_GAUSS, magx);

				CayenneMQTTPublishDataInt(&mqttClient, NULL, DATA_TOPIC, 10,
				TYPE_MAGNETICO_Y, UNIT_GAUSS, magy);

				CayenneMQTTPublishDataInt(&mqttClient, NULL, DATA_TOPIC, 11,
				TYPE_MAGNETICO_Z, UNIT_GAUSS, magz);

				CayenneMQTTPublishDataInt(&mqttClient, NULL, DATA_TOPIC, 12,
				TYPE_PROXIMITY, UNIT_CENTIMETER, distancia / 10);

				CayenneMQTTPublishDataInt(&mqttClient, NULL, DATA_TOPIC, 13,
				TYPE_NUMERO, UNIT_VECES, numeroDetecciones);

				CayenneMQTTPublishDataInt(&mqttClient, NULL, DATA_TOPIC, 14,
				TYPE_VOLUMEN, UNIT_VOLUMEN, volumenMicro);

				CayenneMQTTPublishDataInt(&mqttClient, NULL, DATA_TOPIC, 17,
				TYPE_NUMERO, UNIT_VECES, numeroPulsaciones);

				//printf("Publicados Datos en Zafron:\n");

				HAL_Delay(4000);

			//} else {

				/*CayenneMQTTPublishDataFloat(&mqttClient, NULL, DATA_TOPIC, 0,
				TYPE_TEMPERATURE, UNIT_CELSIUS, 0);

				CayenneMQTTPublishDataFloat(&mqttClient, NULL, DATA_TOPIC, 1,
				TYPE_RELATIVE_HUMIDITY, UNIT_PERCENT, 0);

				CayenneMQTTPublishDataFloat(&mqttClient, NULL, DATA_TOPIC, 2,
				TYPE_BAROMETRIC_PRESSURE, UNIT_HECTOPASCAL, 0);

				CayenneMQTTPublishDataFloat(&mqttClient, NULL, DATA_TOPIC, 3,
				TYPE_ACELERACION, UNIT_mGRAVEDADES, 0);

				CayenneMQTTPublishDataFloat(&mqttClient, NULL, DATA_TOPIC, 4,
				TYPE_ACELERACION, UNIT_mGRAVEDADES, 0);

				CayenneMQTTPublishDataFloat(&mqttClient, NULL, DATA_TOPIC, 5,
				TYPE_ACELERACION, UNIT_mGRAVEDADES, 0);

				CayenneMQTTPublishDataFloat(&mqttClient, NULL, DATA_TOPIC, 6,
				TYPE_GIROS, UNIT_mGRAVEDADES, 0);

				CayenneMQTTPublishDataFloat(&mqttClient, NULL, DATA_TOPIC, 7,
				TYPE_GIROS, UNIT_mGRAVEDADES, 0);

				CayenneMQTTPublishDataFloat(&mqttClient, NULL, DATA_TOPIC, 8,
				TYPE_GIROS, UNIT_mGRAVEDADES, 0);

				CayenneMQTTPublishDataFloat(&mqttClient, NULL, DATA_TOPIC, 9,
				TYPE_MAGNETICO, UNIT_GAUSS, 0);

				CayenneMQTTPublishDataFloat(&mqttClient, NULL, DATA_TOPIC, 10,
				TYPE_MAGNETICO, UNIT_GAUSS, 0);

				CayenneMQTTPublishDataFloat(&mqttClient, NULL, DATA_TOPIC, 11,
				TYPE_MAGNETICO, UNIT_GAUSS, 0);

				CayenneMQTTPublishDataFloat(&mqttClient, NULL, DATA_TOPIC, 12,
				TYPE_PROXIMITY, UNIT_CENTIMETER, 0);

				CayenneMQTTPublishDataFloat(&mqttClient, NULL, DATA_TOPIC, 13,
				TYPE_NUMERO, UNIT_VECES, 0);

				CayenneMQTTPublishDataFloat(&mqttClient, NULL, DATA_TOPIC, 14,
				TYPE_VOLUMEN, UNIT_VOLUMEN, 0);

				CayenneMQTTPublishDataInt(&mqttClient, NULL, DATA_TOPIC, 17,
				TYPE_NUMERO, UNIT_VECES, 0);

				HAL_Delay(5000);

			}*/

		}
	}
  /* USER CODE END 5 */
}

void StartRepresentacion(void *argument)
{
  /* USER CODE BEGIN StartRepresentacion */
	uint32_t flags;

	/* Infinite loop */
	while (1) {

		flags = osThreadFlagsWait(SENIAL1, osFlagsWaitAny, osWaitForever);

		if (flags == SENIAL1) {

			printf("\n\n\r");

			printf("Temperatura: %.2f grados \n\r", temperatura);
			printf("Humedad: %.2f HR \n\r", humedad);
			printf("Presion: %.2f HPa \n\r", pressure);
			printf("Aceleracion en X: %.2f mG\n\r", accx_g);
			printf("Aceleracion en Y: %.2f mG\n\r", accy_g);
			printf("Aceleracion en Z: %.2f mG\n\r", accz_g);
			printf("Giro en X: %.2f mG\n\r", gyrox_g);
			printf("Giro en Y: %.2f mG\n\r", gyroy_g);
			printf("Giro en Z: %.2f mG\n\r", gyroz_g);
			printf("Magneto en X: %d Gauss\n\r", magx);
			printf("Magneto en Y: %d Gauss\n\r", magy);
			printf("Magneto en Z: %d Gauss\n\r", magz);
			printf("Distancia: %d cm\n\r", distancia / 10);
			printf("Detecciones NFC: %d veces\n\r", numeroDetecciones);
			printf("Volumen microfono: %d\n\r", volumenMicro);
			printf("Pulsaciones Joystick: %d veces\n\r", numeroPulsaciones);
			if (estadoLED == false){
				printf("Estado LED: Apagado\n\r");
			}else{
				printf("Estado LED: Encendido\n\r");
			}

			osThreadFlagsClear(SENIAL1);

		}
	}
  /* USER CODE END StartRepresentacion */
}

void StartMicrofono(void *argument)
{
  /* USER CODE BEGIN StartMicrofono */
	uint32_t flags;
	int i;
	int max_val = 0;

	/* Infinite loop */
	while (1) {

		flags = osThreadFlagsWait(SENIAL2, osFlagsWaitAny, osWaitForever);

		if (flags == SENIAL2) {

			if (DmaRecHalfBuffCplt == 1) {
				 //Store values on Play buff
				for (i = 0; i < 1024; i++) {
					PlayBuff[2 * i] = SaturaLH((RecBuff[i] >> 8), -32768, 32767);
					PlayBuff[(2 * i) + 1] = PlayBuff[2 * i];
				}

				PlaybackStarted = 1;
				DmaRecHalfBuffCplt = 0;
			}
			if (DmaRecBuffCplt == 1) {
				 //Store values on Play buff
				for (i = 1024; i < 2048; i++) {
					PlayBuff[2 * i] = SaturaLH((RecBuff[i] >> 8), -32768, 32767);
					PlayBuff[(2 * i) + 1] = PlayBuff[2 * i];
				}
				DmaRecBuffCplt = 0;

				for (int j = 0; j < 4096; j++) {

					if (PlayBuff[j] > max_val) {
						max_val = PlayBuff[j];
					}
				}
			}

			volumenMicrofono(max_val);
			max_val = 0;

			osThreadFlagsClear(SENIAL2);
		}
	}
  /* USER CODE END StartMicrofono */
}

void Error_Handler(void)
{
	__disable_irq();
	while (1) {
	}
}
